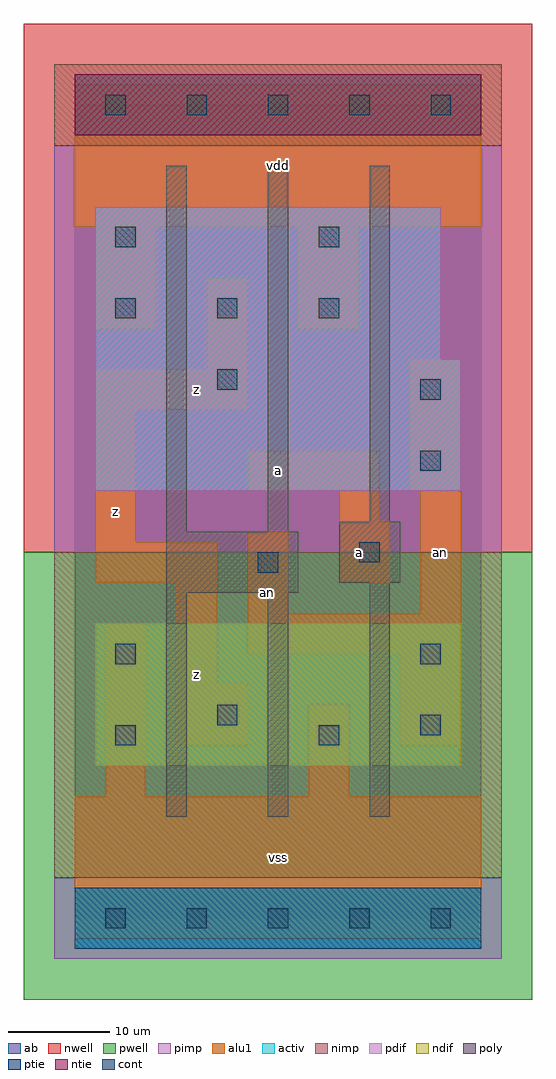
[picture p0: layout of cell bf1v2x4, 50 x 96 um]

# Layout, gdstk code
import gdstk
lib = gdstk.Library(unit=1e-6, precision=1e-09)
def R(c, l, rs):  # rectangles x0, y0, x1, y1
    for r in rs: c.add(gdstk.rectangle(r[:2], r[2:], *l))
def A(c, l, x, y, w, h, nx, ny, dx, dy):  # array of equal rectangles
    R(c, l, [(x+i*dx, y+j*dy, x+i*dx+w, y+j*dy+h) for i in range(nx) for j in range(ny)])
ndif = (3, 0)
pdif = (4, 0)
ntie = (5, 0)
ptie = (6, 0)
cont = (25, 0)
pwell = (41, 0)
nwell = (42, 0)
activ = (43, 0)
pimp = (44, 0)
nimp = (45, 0)
poly = (46, 0)
alu1 = (49, 0)
ab = (63, 0)

bf1v2x4 = lib.new_cell('bf1v2x4')
R(bf1v2x4, ndif, [(2,15,38,29)])
R(bf1v2x4, pdif, [(2,42,38,55), (2,55,36,70)])
R(bf1v2x4, ntie, [(0,77,40,83)])
R(bf1v2x4, ptie, [(0,-3,40,3)])
A(bf1v2x4, cont, 3, -1, 2, 2, 5, 2, 8, 80)
A(bf1v2x4, cont, 4, 59, 2, 2, 3, 1, 10, 0)
R(bf1v2x4, cont, [(4,17,6,19), (24,17,26,19), (34,18,36,20), (14,19,16,21), (4,25,6,27), (34,25,36,27), (18,34,20,36), (28,35,30,37), (34,44,36,46), (34,51,36,53), (14,52,16,54), (4,66,6,68), (24,66,26,68)])
R(bf1v2x4, pwell, [(-5,-8,45,36)])
R(bf1v2x4, nwell, [(-5,36,45,88)])
R(bf1v2x4, activ, [(0,-3,40,3), (2,15,38,29), (2,42,38,55), (2,55,36,70), (0,77,40,83)])
R(bf1v2x4, pimp, [(-2,-4,42,4), (-2,36,42,76)])
R(bf1v2x4, nimp, [(-2,4,42,36), (-2,76,42,84)])
R(bf1v2x4, poly, [(9,10,11,32), (19,10,21,32), (29,10,31,33), (9,32,22,38), (26,33,32,39), (9,38,11,74), (19,38,21,74), (29,39,31,74)])
R(bf1v2x4, alu1, [(0,-2,40,12), (3,12,7,29), (23,12,27,21), (10,17,17,23), (32,17,38,26), (10,23,14,33), (17,26,38,30), (17,30,21,38), (34,30,38,42), (2,33,14,37), (26,33,31,39), (2,37,6,50), (26,39,30,42), (17,42,30,46), (33,42,38,55), (2,50,17,54), (13,54,17,63), (2,58,8,68), (22,58,28,68), (0,68,40,82)])
R(bf1v2x4, ab, [(0,0,40,80)])
bf1v2x4.add(gdstk.Label('an', (19,32), layer=49, texttype=0))
bf1v2x4.add(gdstk.Label('an', (36,36), layer=49, texttype=0))
bf1v2x4.add(gdstk.Label('z', (4,40), layer=49, texttype=0))
bf1v2x4.add(gdstk.Label('z', (12,24), layer=49, texttype=0))
bf1v2x4.add(gdstk.Label('z', (12,52), layer=49, texttype=0))
bf1v2x4.add(gdstk.Label('vss', (20,6), layer=49, texttype=0))
bf1v2x4.add(gdstk.Label('a', (28,36), layer=49, texttype=0))
bf1v2x4.add(gdstk.Label('a', (20,44), layer=49, texttype=0))
bf1v2x4.add(gdstk.Label('vdd', (20,74), layer=49, texttype=0))

lib.write_gds('bf1v2x4.gds')
